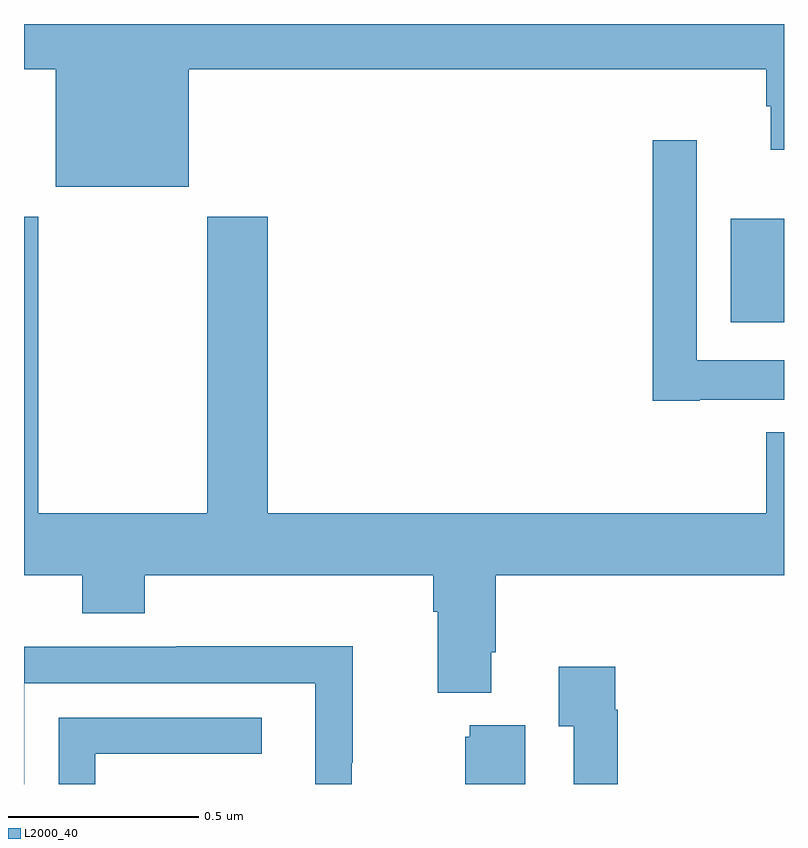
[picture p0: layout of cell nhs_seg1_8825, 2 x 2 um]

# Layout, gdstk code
import gdstk
lib = gdstk.Library(unit=1e-6, precision=1e-09)
def R(c, l, rs):  # rectangles x0, y0, x1, y1
    for r in rs: c.add(gdstk.rectangle(r[:2], r[2:], *l))
def P(c, l, *ps):  # polygons
    for p in ps: c.add(gdstk.Polygon(p, *l))
L2000_40 = (2000, 40)

nhs_seg1_8825 = lib.new_cell('nhs_seg1_8825')
R(nhs_seg1_8825, L2000_40, [(222.86,536.414,223,536.686)])
P(nhs_seg1_8825, L2000_40, [(221,537.08),(221.084,537.08),(221.084,536.771),(221.434,536.771),(221.434,537.08),(222.953,537.08),(222.953,536.982),(222.965,536.982),(222.965,536.868),(223,536.868),(223,537.199),(221,537.199)],
  [(222.778,536.21),(223,536.21),(223,536.314),(222.771,536.314),(222.771,536.893),(222.655,536.893),(222.655,536.208),(222.778,536.208)],
  [(222.229,535.546),(222.242,535.546),(222.242,535.748),(223,535.748),(223,536.125),(222.953,536.125),(222.953,535.912),(221.642,535.912),(221.642,536.692),(221.482,536.692),(221.482,535.912),(221.037,535.912),(221.037,536.692),(221,536.692),(221,535.748),(221.153,535.748),(221.153,535.649),(221.318,535.649),(221.318,535.748),(222.077,535.748),(222.077,535.652),(222.089,535.652),(222.089,535.439),(222.229,535.439)],
  [(221.001,535.464),(221.766,535.464),(221.766,535.199),(221.862,535.199),(221.862,535.255),(221.865,535.255),(221.865,535.562),(221.401,535.562),(221.401,535.56),(221,535.56),(221,535.199),(221.001,535.199)],
  [(222.563,535.394),(222.556,535.394),(222.556,535.507),(222.407,535.507),(222.407,535.351),(222.447,535.351),(222.447,535.199),(222.563,535.199)],
  [(221.187,535.278),(221.626,535.278),(221.626,535.374),(221.091,535.374),(221.091,535.199),(221.187,535.199)],
  [(222.319,535.354),(222.173,535.354),(222.173,535.323),(222.161,535.323),(222.161,535.199),(222.319,535.199)])

lib.write_gds('nhs_seg1_8825.gds')
